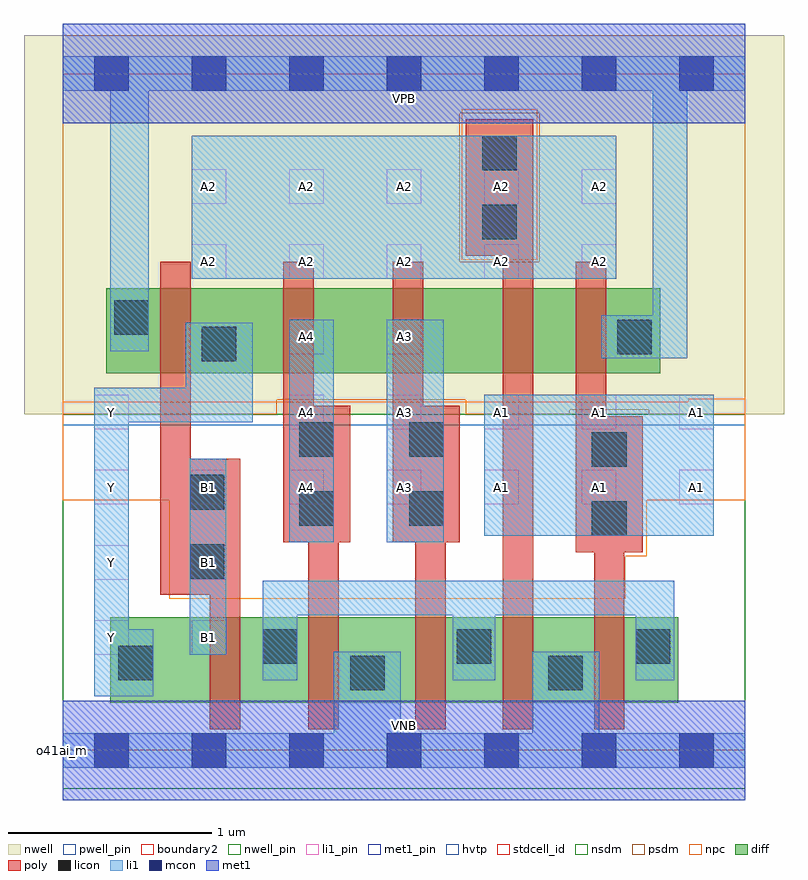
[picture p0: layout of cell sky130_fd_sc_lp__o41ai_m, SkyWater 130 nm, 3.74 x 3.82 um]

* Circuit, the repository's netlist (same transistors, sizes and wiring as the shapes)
* Copyright 2020 The SkyWater PDK Authors
*
* Licensed under the Apache License, Version 2.0 (the "License");
* you may not use this file except in compliance with the License.
* You may obtain a copy of the License at
*
*     https://www.apache.org/licenses/LICENSE-2.0
*
* Unless required by applicable law or agreed to in writing, software
* distributed under the License is distributed on an "AS IS" BASIS,
* WITHOUT WARRANTIES OR CONDITIONS OF ANY KIND, either express or implied.
* See the License for the specific language governing permissions and
* limitations under the License.
*
* SPDX-License-Identifier: Apache-2.0

.SUBCKT sky130_fd_sc_lp__o41ai_m A1 A2 A3 A4 B1 VGND VNB VPB VPWR Y
*.PININFO A1:I A2:I A3:I A4:I B1:I VGND:I VNB:I VPB:I VPWR:I Y:O
MMPA0 VPWR A1 sndA1 VPB sky130_fd_pr__pfet_01v8_hvt m=1 w=0.42U l=0.15U mult=1
+ sa=0.265 sb=0.265 sd=0.28 area=0.063 perim=1.14
MMPA1 sndA1 A2 sndA2 VPB sky130_fd_pr__pfet_01v8_hvt m=1 w=0.42U l=0.15U mult=1
+ sa=0.265 sb=0.265 sd=0.28 area=0.063 perim=1.14
MMPA2 sndA2 A3 sndA3 VPB sky130_fd_pr__pfet_01v8_hvt m=1 w=0.42U l=0.15U mult=1
+ sa=0.265 sb=0.265 sd=0.28 area=0.063 perim=1.14
MMPA3 sndA3 A4 Y VPB sky130_fd_pr__pfet_01v8_hvt m=1 w=0.42U l=0.15U mult=1 sa=0.265
+ sb=0.265 sd=0.28 area=0.063 perim=1.14
MMPB0 VPWR B1 Y VPB sky130_fd_pr__pfet_01v8_hvt m=1 w=0.42U l=0.15U mult=1 sa=0.265
+ sb=0.265 sd=0.28 area=0.063 perim=1.14
MMNA0 pndA A1 VGND VNB sky130_fd_pr__nfet_01v8 m=1 w=0.42U l=0.15U mult=1 sa=0.265
+ sb=0.265 sd=0.28 area=0.063 perim=1.14
MMNA1 pndA A2 VGND VNB sky130_fd_pr__nfet_01v8 m=1 w=0.42U l=0.15U mult=1 sa=0.265
+ sb=0.265 sd=0.28 area=0.063 perim=1.14
MMNA2 pndA A3 VGND VNB sky130_fd_pr__nfet_01v8 m=1 w=0.42U l=0.15U mult=1 sa=0.265
+ sb=0.265 sd=0.28 area=0.063 perim=1.14
MMNA3 pndA A4 VGND VNB sky130_fd_pr__nfet_01v8 m=1 w=0.42U l=0.15U mult=1 sa=0.265
+ sb=0.265 sd=0.28 area=0.063 perim=1.14
MMNB0 Y B1 pndA VNB sky130_fd_pr__nfet_01v8 m=1 w=0.42U l=0.15U mult=1 sa=0.265
+ sb=0.265 sd=0.28 area=0.063 perim=1.14
.ENDS sky130_fd_sc_lp__o41ai_m

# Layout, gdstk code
import gdstk
lib = gdstk.Library(unit=1e-6, precision=1e-09)
def R(c, l, rs):  # rectangles x0, y0, x1, y1
    for r in rs: c.add(gdstk.rectangle(r[:2], r[2:], *l))
def A(c, l, x, y, w, h, nx, ny, dx, dy):  # array of equal rectangles
    R(c, l, [(x+i*dx, y+j*dy, x+i*dx+w, y+j*dy+h) for i in range(nx) for j in range(ny)])
def P(c, l, *ps):  # polygons
    for p in ps: c.add(gdstk.Polygon(p, *l))
nwell_pin = (64, 16)
nwell = (64, 20)
diff = (65, 20)
poly = (66, 20)
licon = (66, 44)
li1_pin = (67, 16)
li1 = (67, 20)
mcon = (67, 44)
met1_pin = (68, 16)
met1 = (68, 20)
hvtp = (78, 44)
stdcell_id = (81, 4)
nsdm = (93, 44)
psdm = (94, 20)
npc = (95, 20)
pwell_pin = (122, 16)
boundary2 = (236, 0)

sky130_fd_sc_lp__o41ai_m = lib.new_cell('sky130_fd_sc_lp__o41ai_m')
R(sky130_fd_sc_lp__o41ai_m, nwell_pin, [(0,3.085,3.36,3.33)])
R(sky130_fd_sc_lp__o41ai_m, nwell, [(-0.19,1.655,3.55,3.52)])
R(sky130_fd_sc_lp__o41ai_m, diff, [(0.235,0.235,3.03,0.655), (0.215,1.855,2.94,2.275)])
P(sky130_fd_sc_lp__o41ai_m, poly, [(0.875,1.435),(0.63,1.435),(0.63,2.405),(0.48,2.405),(0.48,0.765),(0.725,0.765),(0.725,0.105),(0.875,0.105)],
  [(1.415,1.695),(1.235,1.695),(1.235,2.405),(1.085,2.405),(1.085,1.025),(1.21,1.025),(1.21,0.105),(1.36,0.105),(1.36,1.025),(1.415,1.025)],
  [(1.955,1.695),(1.775,1.695),(1.775,2.405),(1.625,2.405),(1.625,1.025),(1.735,1.025),(1.735,0.105),(1.885,0.105),(1.885,1.025),(1.955,1.025)],
  [(2.315,3.105),(1.985,3.105),(1.985,2.435),(2.165,2.435),(2.165,0.105),(2.315,0.105)],
  [(2.855,1.645),(2.675,1.645),(2.675,2.405),(2.525,2.405),(2.525,0.975),(2.615,0.975),(2.615,0.105),(2.765,0.105),(2.765,0.975),(2.855,0.975)])
R(sky130_fd_sc_lp__o41ai_m, licon, [(1.415,0.295,1.585,0.465), (2.39,0.295,2.56,0.465), (0.275,0.345,0.445,0.515), (0.985,0.425,1.155,0.595), (1.94,0.425,2.11,0.595), (2.82,0.425,2.99,0.595), (0.625,0.845,0.795,1.015), (2.605,1.055,2.775,1.225), (1.165,1.105,1.335,1.275), (1.705,1.105,1.875,1.275), (0.625,1.185,0.795,1.355), (2.605,1.395,2.775,1.565), (1.165,1.445,1.335,1.615), (1.705,1.445,1.875,1.615), (0.685,1.915,0.855,2.085), (2.73,1.95,2.9,2.12), (0.255,2.045,0.425,2.215), (2.065,2.515,2.235,2.685), (2.065,2.855,2.235,3.025)])
A(sky130_fd_sc_lp__o41ai_m, li1_pin, 0.155, 1.21, 0.17, 0.17, 7, 1, 0.48, 0)
A(sky130_fd_sc_lp__o41ai_m, li1_pin, 1.115, 1.58, 0.17, 0.17, 5, 1, 0.48, 0)
A(sky130_fd_sc_lp__o41ai_m, li1_pin, 0.635, 2.32, 0.17, 0.17, 5, 2, 0.48, 0.37)
R(sky130_fd_sc_lp__o41ai_m, li1_pin, [(0.155,0.47,0.325,0.64), (0.635,0.47,0.805,0.64), (0.155,0.84,0.325,1.01), (0.635,0.84,0.805,1.01), (0.155,1.58,0.325,1.75), (1.115,1.95,1.285,2.12), (1.595,1.95,1.765,2.12)])
R(sky130_fd_sc_lp__o41ai_m, li1, [(0.625,0.47,0.805,1.435), (1.115,1.025,1.335,2.12), (1.595,1.025,1.875,2.12), (2.075,1.055,3.205,1.75), (0.635,2.32,2.725,3.025)])
P(sky130_fd_sc_lp__o41ai_m, li1, [(2.905,2.14),(2.905,3.245),(0.425,3.245),(0.425,1.965),(0.235,1.965),(0.235,3.245),(0,3.245),(0,3.415),(3.36,3.415),(3.36,3.245),(3.075,3.245),(3.075,1.93),(2.65,1.93),(2.65,2.14)],
  [(2.31,0.085),(2.31,0.485),(2.64,0.485),(2.64,0.085),(3.36,0.085),(3.36,-0.085),(0,-0.085),(0,0.085),(1.335,0.085),(1.335,0.485),(1.665,0.485),(1.665,0.085)],
  [(0.605,1.785),(0.605,2.105),(0.935,2.105),(0.935,1.615),(0.325,1.615),(0.325,0.595),(0.445,0.595),(0.445,0.265),(0.155,0.265),(0.155,1.785)],
  [(2.82,0.665),(2.13,0.665),(2.13,0.345),(1.92,0.345),(1.92,0.665),(1.155,0.665),(1.155,0.345),(0.985,0.345),(0.985,0.835),(3.01,0.835),(3.01,0.345),(2.82,0.345)])
A(sky130_fd_sc_lp__o41ai_m, mcon, 0.155, -0.085, 0.17, 0.17, 7, 2, 0.48, 3.33)
R(sky130_fd_sc_lp__o41ai_m, met1_pin, [(0,0,3.36,0.245), (0,3.085,3.36,3.33)])
R(sky130_fd_sc_lp__o41ai_m, met1, [(0,-0.245,3.36,0.245), (0,3.085,3.36,3.575)])
R(sky130_fd_sc_lp__o41ai_m, hvtp, [(0,1.6,3.36,3.33)])
R(sky130_fd_sc_lp__o41ai_m, stdcell_id, [(0,0,3.36,3.33)])
R(sky130_fd_sc_lp__o41ai_m, nsdm, [(0,-0.19,3.36,1.655)])
P(sky130_fd_sc_lp__o41ai_m, psdm, [(3.36,3.52),(2.345,3.52),(2.345,2.405),(1.955,2.405),(1.955,3.135),(2.345,3.135),(2.345,3.52),(0,3.52),(0,1.655),(1.055,1.655),(1.055,1.725),(1.985,1.725),(1.985,1.655),(2.495,1.655),(2.495,1.675),(2.885,1.675),(2.885,1.655),(3.36,1.655)])
R(sky130_fd_sc_lp__o41ai_m, npc, [(1.965,2.415,2.335,3.155)])
P(sky130_fd_sc_lp__o41ai_m, npc, [(3.36,1.73),(3.08,1.73),(3.08,1.715),(0,1.715),(0,1.23),(0.525,1.23),(0.525,0.745),(2.77,0.745),(2.77,0.955),(2.875,0.955),(2.875,1.23),(3.36,1.23)])
R(sky130_fd_sc_lp__o41ai_m, pwell_pin, [(0,0,3.36,0.245)])
R(sky130_fd_sc_lp__o41ai_m, boundary2, [(0,0,3.36,3.33)])
sky130_fd_sc_lp__o41ai_m.add(gdstk.Label('VNB', (1.68,0.123), layer=64, texttype=59))
sky130_fd_sc_lp__o41ai_m.add(gdstk.Label('VPB', (1.68,3.208), layer=64, texttype=5))
sky130_fd_sc_lp__o41ai_m.add(gdstk.Label('o41ai_m', (0,0), layer=83, texttype=44))
sky130_fd_sc_lp__o41ai_m.add(gdstk.Label('VPWR', (1.68,3.208), layer=68, texttype=5))
sky130_fd_sc_lp__o41ai_m.add(gdstk.Label('VGND', (1.68,0.123), layer=68, texttype=5))
sky130_fd_sc_lp__o41ai_m.add(gdstk.Label('A1', (2.16,1.295), layer=67, texttype=5))
sky130_fd_sc_lp__o41ai_m.add(gdstk.Label('A1', (2.16,1.665), layer=67, texttype=5))
sky130_fd_sc_lp__o41ai_m.add(gdstk.Label('A1', (2.64,1.295), layer=67, texttype=5))
sky130_fd_sc_lp__o41ai_m.add(gdstk.Label('A1', (2.64,1.665), layer=67, texttype=5))
sky130_fd_sc_lp__o41ai_m.add(gdstk.Label('A1', (3.12,1.295), layer=67, texttype=5))
sky130_fd_sc_lp__o41ai_m.add(gdstk.Label('A1', (3.12,1.665), layer=67, texttype=5))
sky130_fd_sc_lp__o41ai_m.add(gdstk.Label('A2', (0.72,2.405), layer=67, texttype=5))
sky130_fd_sc_lp__o41ai_m.add(gdstk.Label('A2', (0.72,2.775), layer=67, texttype=5))
sky130_fd_sc_lp__o41ai_m.add(gdstk.Label('A2', (1.2,2.405), layer=67, texttype=5))
sky130_fd_sc_lp__o41ai_m.add(gdstk.Label('A2', (1.2,2.775), layer=67, texttype=5))
sky130_fd_sc_lp__o41ai_m.add(gdstk.Label('A2', (1.68,2.405), layer=67, texttype=5))
sky130_fd_sc_lp__o41ai_m.add(gdstk.Label('A2', (1.68,2.775), layer=67, texttype=5))
sky130_fd_sc_lp__o41ai_m.add(gdstk.Label('A2', (2.16,2.405), layer=67, texttype=5))
sky130_fd_sc_lp__o41ai_m.add(gdstk.Label('A2', (2.16,2.775), layer=67, texttype=5))
sky130_fd_sc_lp__o41ai_m.add(gdstk.Label('A2', (2.64,2.405), layer=67, texttype=5))
sky130_fd_sc_lp__o41ai_m.add(gdstk.Label('A2', (2.64,2.775), layer=67, texttype=5))
sky130_fd_sc_lp__o41ai_m.add(gdstk.Label('A3', (1.68,1.295), layer=67, texttype=5))
sky130_fd_sc_lp__o41ai_m.add(gdstk.Label('A3', (1.68,1.665), layer=67, texttype=5))
sky130_fd_sc_lp__o41ai_m.add(gdstk.Label('A3', (1.68,2.035), layer=67, texttype=5))
sky130_fd_sc_lp__o41ai_m.add(gdstk.Label('A4', (1.2,1.295), layer=67, texttype=5))
sky130_fd_sc_lp__o41ai_m.add(gdstk.Label('A4', (1.2,1.665), layer=67, texttype=5))
sky130_fd_sc_lp__o41ai_m.add(gdstk.Label('A4', (1.2,2.035), layer=67, texttype=5))
sky130_fd_sc_lp__o41ai_m.add(gdstk.Label('B1', (0.72,0.555), layer=67, texttype=5))
sky130_fd_sc_lp__o41ai_m.add(gdstk.Label('B1', (0.72,0.925), layer=67, texttype=5))
sky130_fd_sc_lp__o41ai_m.add(gdstk.Label('B1', (0.72,1.295), layer=67, texttype=5))
sky130_fd_sc_lp__o41ai_m.add(gdstk.Label('Y', (0.24,0.555), layer=67, texttype=5))
sky130_fd_sc_lp__o41ai_m.add(gdstk.Label('Y', (0.24,0.925), layer=67, texttype=5))
sky130_fd_sc_lp__o41ai_m.add(gdstk.Label('Y', (0.24,1.295), layer=67, texttype=5))
sky130_fd_sc_lp__o41ai_m.add(gdstk.Label('Y', (0.24,1.665), layer=67, texttype=5))

lib.write_gds('sky130_fd_sc_lp__o41ai_m.gds')
